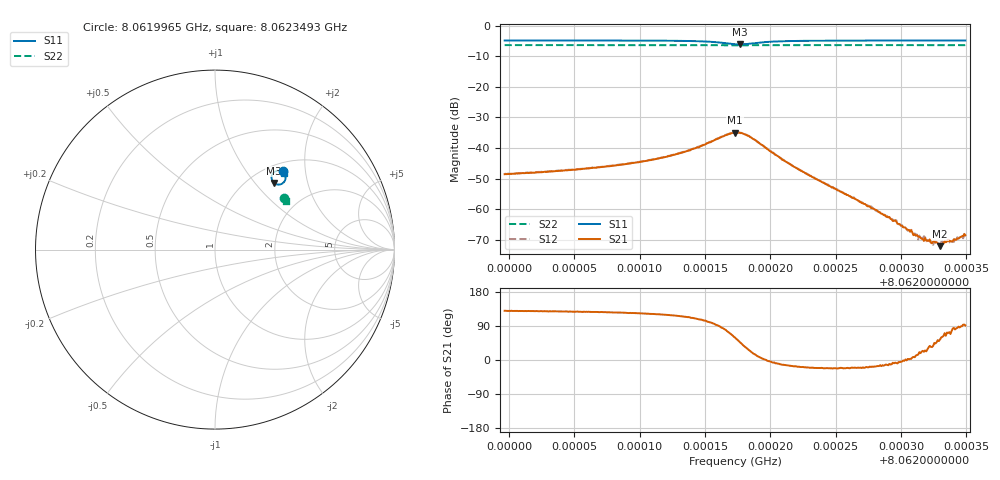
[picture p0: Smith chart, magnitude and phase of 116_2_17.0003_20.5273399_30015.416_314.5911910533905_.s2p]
#  HZ  S  RI  R  50.00
! Rohde & Schwarz Vector Network Analyzer
! Rohde-Schwarz,ZNB20-2Port,1311601062101988,3.16
! Created: UTC 3/20/2024, 10:57:14 PM
! freq[Hz]  re:S11  im:S11  re:S21  im:S21  re:S12  im:S12  re:S22  im:S22
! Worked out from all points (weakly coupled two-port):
!   401 points, 8.0619965 GHz to 8.0623493 GHz, reference 50 ohm
!   highest |S21| = -34.96 dB at 8.0621729 GHz (marker M1); lowest = -72.1 dB at 8.0623299 GHz (marker M2)
!   lowest |S11| = -6.1 dB at 8.0621765 GHz (marker M3), VSWR 2.97, Z = 64 + j63.1 ohm
!   |S11| at or under -10 dB: nowhere
!   |S22| runs from -6.4 to -6.3 dB; largest |S21 - S12| = 0.0013
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8.06199655e9  0.3762 0.4355  -0.00239 0.00286  -0.00224 0.00309  0.3865 0.2897
8.06205563e9  0.382 0.4298  -0.00275 0.00361  -0.00256 0.00379  0.3887 0.2869
8.06208738e9  0.3858 0.4247  -0.00309 0.00441  -0.00285 0.00464  0.3898 0.2849
8.06211472e9  0.3897 0.4175  -0.00343 0.00583  -0.00313 0.00607  0.3906 0.2835
8.06213677e9  0.393 0.4053  -0.00354 0.00829  -0.00306 0.00857  0.3913 0.2818
8.06215881e9  0.3848 0.3768  -0.000605 0.0139  0.000279 0.0141  0.3913 0.2796
8.06216675e9  0.3662 0.364  0.0039 0.016  0.00492 0.016  0.3903 0.2791
8.06217292e9  0.342 0.3638  0.00912 0.0154  0.0102 0.0148  0.3898 0.2791
8.06217645e9  0.3282 0.3716  0.012 0.0132  0.0128 0.0125  0.3892 0.2796
8.06218527e9  0.3151 0.4047  0.0138 0.00546  0.0142 0.00453  0.3894 0.2809
8.06221084e9  0.3473 0.4397  0.006 -0.0014  0.00599 -0.00175  0.3921 0.2805
8.06223201e9  0.3617 0.4395  0.00315 -0.00116  0.00315 -0.00137  0.3934 0.2794
8.0622761e9  0.3742 0.4351  0.00105 -0.000331  0.00104 -0.000393  0.3954 0.277
8.0622911e9  0.3767 0.4338  0.000731 -0.000134  0.000701 -0.000215  0.3958 0.2761
8.06230873e9  0.3792 0.4322  0.000408 4.75e-05  0.00043 6.59e-06  0.3965 0.2752
8.06231491e9  0.3799 0.4318  0.000327 0.000107  0.00031 8.21e-05  0.3967 0.2749
8.06231755e9  0.3801 0.4315  0.00028 0.000112  0.000337 0.000127  0.3968 0.2748
8.06232372e9  0.3808 0.431  0.000228 0.000155  0.000232 0.000175  0.397 0.2745
8.0623299e9  0.3816 0.4307  0.000145 0.000201  0.00017 0.000209  0.3972 0.2742
8.06233519e9  0.3821 0.4302  8.95e-05 0.000282  8.56e-05 0.000292  0.3972 0.2738
8.06233872e9  0.3824 0.4299  7.05e-05 0.000287  7.98e-05 0.000265  0.3976 0.2738
8.0623493e9  0.3835 0.4291  -8.01e-06 0.000373  9.39e-06 0.000383  0.3978 0.2731
